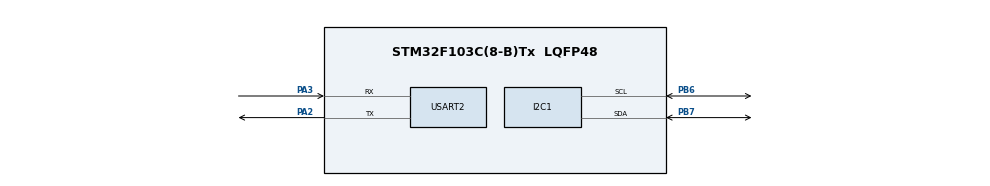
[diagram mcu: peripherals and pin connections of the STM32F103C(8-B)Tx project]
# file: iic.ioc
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Dma.I2C1_RX.0.Direction=DMA_PERIPH_TO_MEMORY
Dma.I2C1_RX.0.Instance=DMA1_Channel7
Dma.I2C1_RX.0.MemDataAlignment=DMA_MDATAALIGN_BYTE
Dma.I2C1_RX.0.MemInc=DMA_MINC_ENABLE
Dma.I2C1_RX.0.Mode=DMA_NORMAL
Dma.I2C1_RX.0.PeriphDataAlignment=DMA_PDATAALIGN_BYTE
Dma.I2C1_RX.0.PeriphInc=DMA_PINC_DISABLE
Dma.I2C1_RX.0.Priority=DMA_PRIORITY_LOW
Dma.I2C1_TX.1.Direction=DMA_MEMORY_TO_PERIPH
Dma.I2C1_TX.1.Instance=DMA1_Channel6
Dma.I2C1_TX.1.MemDataAlignment=DMA_MDATAALIGN_BYTE
Dma.I2C1_TX.1.MemInc=DMA_MINC_ENABLE
Dma.I2C1_TX.1.Mode=DMA_NORMAL
Dma.I2C1_TX.1.PeriphDataAlignment=DMA_PDATAALIGN_BYTE
Dma.I2C1_TX.1.PeriphInc=DMA_PINC_DISABLE
Dma.I2C1_TX.1.Priority=DMA_PRIORITY_LOW
Dma.Request0=I2C1_RX
Dma.Request1=I2C1_TX
Mcu.Family=STM32F1
Mcu.Name=STM32F103C(8-B)Tx
Mcu.Package=LQFP48
NVIC.DMA1_Channel6_IRQn=true\:0\:0\:false\:false\:true\:false\:true\:true
NVIC.DMA1_Channel7_IRQn=true\:0\:0\:false\:false\:true\:false\:true\:true
NVIC.I2C1_ER_IRQn=true\:0\:0\:false\:false\:true\:true\:true\:true
NVIC.I2C1_EV_IRQn=true\:0\:0\:false\:false\:true\:true\:true\:true
NVIC.PriorityGroup=NVIC_PRIORITYGROUP_4
PA13.Mode=Serial_Wire
PA13.Signal=SYS_JTMS-SWDIO
PA14.Mode=Serial_Wire
PA14.Signal=SYS_JTCK-SWCLK
PA2.Mode=Asynchronous
PA2.Signal=USART2_TX
PA3.Mode=Asynchronous
PA3.Signal=USART2_RX
PB6.Mode=I2C
PB6.Signal=I2C1_SCL
PB7.Mode=I2C
PB7.Signal=I2C1_SDA
ProjectManager.HeapSize=0x200
ProjectManager.StackSize=0x400
ProjectManager.TargetToolchain=CMake
RCC.APB1Freq_Value=8000000
RCC.APB2Freq_Value=8000000
USART2.VirtualMode=VM_ASYNC
board=custom

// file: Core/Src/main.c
/* USER CODE BEGIN Header */

/**
 ******************************************************************************
 * @file           : main.c
 * @brief          : Main program body
 ******************************************************************************
 * @attention
 *
 * Copyright (c) 2024 STMicroelectronics.
 * All rights reserved.
 *
 * This software is licensed under terms that can be found in the LICENSE file
 * in the root directory of this software component.
 * If no LICENSE file comes with this software, it is provided AS-IS.
 *
 ******************************************************************************
 */
/* USER CODE END Header */
#include "main.h"
#include "dma.h"
#include "i2c.h"
#include "usart.h"
#include "gpio.h"

/* USER CODE BEGIN Includes */
#include "aht20.h"
#include "stdio.h"
#include <string.h>
/* USER CODE END Includes */

/* USER CODE BEGIN PV */
// 0:初始状�?? 发�?�测量命�? 1:正在发�?�测量命�? 2:测量命令发�?�完�? 等待读取 3：读取中 4:读取完成
uint8_t aht20State = 0;
      char message[50];

/* USER CODE END PV */

void SystemClock_Config(void);

int main(void)
{

  /* MCU Configuration--------------------------------------------------------*/

  /* Reset of all peripherals, Initializes the Flash interface and the Systick. */
  HAL_Init();

  /* USER CODE BEGIN Init */

  // AHT20_Init();
  /* USER CODE END Init */

  /* Configure the system clock */
  SystemClock_Config();

  /* Initialize all configured peripherals */
  MX_GPIO_Init();
  MX_DMA_Init();
  MX_I2C1_Init();
  MX_USART2_UART_Init();
  /* USER CODE BEGIN 2 */

  // AHT20_Init();
  float temperature, humidity;

  /* USER CODE END 2 */

  /* Infinite loop */
  /* USER CODE BEGIN WHILE */
  while (1)
  {
    __NOP();
    switch (aht20State)
    {
    case 0:
      AHT20_Measure();
      aht20State = 1;
      break;

    case 2:
      HAL_Delay(75);
      AHT20_Get();
      aht20State = 3;
      break;

    case 4:
      AHT20_Analysis(&temperature, &humidity);

      // 打印温湿度
      sprintf(message, "温度: %.1f ℃, 湿度: %.1f %%\r\n", temperature, humidity);
      // 串口发送
      HAL_UART_Transmit(&huart2, (uint8_t *)message, strlen(message), HAL_MAX_DELAY);
      aht20State = 0;

      HAL_Delay(1000);
      break;
    }

    /* USER CODE END WHILE */

  }
}

void SystemClock_Config(void)
{
  RCC_OscInitTypeDef RCC_OscInitStruct = {0};
  RCC_ClkInitTypeDef RCC_ClkInitStruct = {0};

  /** Initializes the RCC Oscillators according to the specified parameters
  * in the RCC_OscInitTypeDef structure.
  */
  RCC_OscInitStruct.OscillatorType = RCC_OSCILLATORTYPE_HSI;
  RCC_OscInitStruct.HSIState = RCC_HSI_ON;
  RCC_OscInitStruct.HSICalibrationValue = RCC_HSICALIBRATION_DEFAULT;
  RCC_OscInitStruct.PLL.PLLState = RCC_PLL_NONE;
  if (HAL_RCC_OscConfig(&RCC_OscInitStruct) != HAL_OK)
  {
    Error_Handler();
  }

  /** Initializes the CPU, AHB and APB buses clocks
  */
  RCC_ClkInitStruct.ClockType = RCC_CLOCKTYPE_HCLK|RCC_CLOCKTYPE_SYSCLK
                              |RCC_CLOCKTYPE_PCLK1|RCC_CLOCKTYPE_PCLK2;
  RCC_ClkInitStruct.SYSCLKSource = RCC_SYSCLKSOURCE_HSI;
  RCC_ClkInitStruct.AHBCLKDivider = RCC_SYSCLK_DIV1;
  RCC_ClkInitStruct.APB1CLKDivider = RCC_HCLK_DIV1;
  RCC_ClkInitStruct.APB2CLKDivider = RCC_HCLK_DIV1;

  if (HAL_RCC_ClockConfig(&RCC_ClkInitStruct, FLASH_LATENCY_0) != HAL_OK)
  {
    Error_Handler();
  }
}

void Error_Handler(void)
{
  __disable_irq();
  while (1)
  {
  }
}
